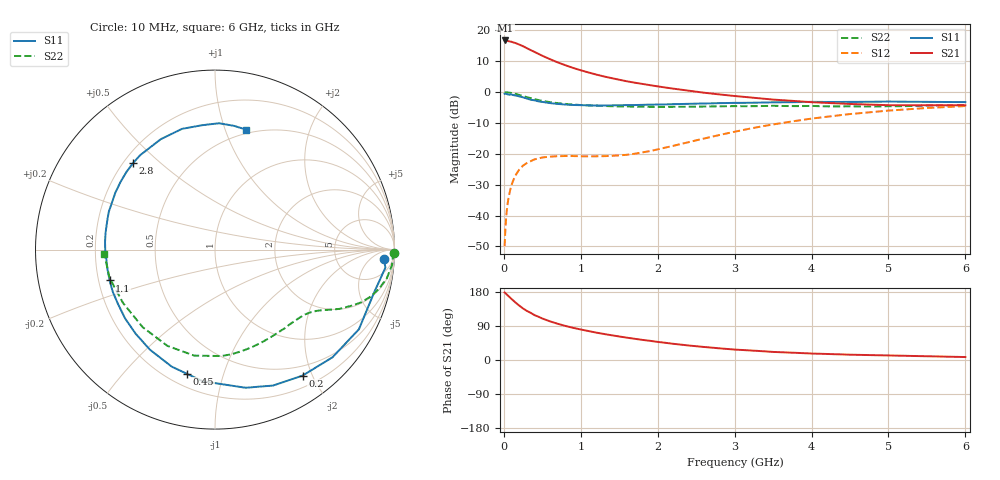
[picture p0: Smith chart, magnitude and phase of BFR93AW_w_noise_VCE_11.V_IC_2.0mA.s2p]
! (c) 2017  Infineon Technologies AG, Munich
! Infineon Technologies  Discrete & RF Semiconductors
! BFR93AW
! VCE =  11. V,  IC =  2.0 mA
! Common Emitter S-Parameters:  Jan 2017
# GHz  S  MA  R  50
!  f  S11  S21  S12  S22
! GHz  MAG  ANG  MAG  ANG  MAG  ANG  MAG  ANG
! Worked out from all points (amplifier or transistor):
!   77 points, 10 MHz to 6 GHz, reference 50 ohm
!   highest |S21| = 16.8 dB at 20 MHz (marker M1)
!   |S21| within 3 dB of that: start of sweep to 339.3 MHz
!   unconditionally stable (mu >= 1): 1.285 GHz to 2.236 GHz
!   at 130 MHz: K = 0.10, MSG = 22.1 dB, |S12| = -28.1 dB
!   at 2.2 GHz: K = 1.01, MAG = 8.6 dB, |S12| = -17.4 dB
!   at 6 GHz: K = 0.95, MSG = 0.1 dB, |S12| = -4.5 dB
!   lowest NFmin = 1.49 dB at 450 MHz
!   S11 on the Smith chart (normalised r, x): 10 MHz: 18, -16; 200 MHz: 0.36, -1.86; 450 MHz: 0.27, -0.76; 1.1 GHz: 0.25, -0.13; 2.8 GHz: 0.24, +0.41; 6 GHz: 0.46, +1.18
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0.01  0.941 -3.1  6.799 178.1  0.0032 87.1  1 -1.0
0.02  0.9549 -6.0  6.882 176.4  0.006 90.9  0.992 -2.0
0.05  0.9193 -14.6  6.764 170.5  0.0159 81.3  0.9903 -4.9
0.1  0.9164 -29.0  6.557 161.0  0.0313 75.2  0.9704 -9.5
0.15  0.888 -42.5  6.257 151.9  0.0446 66.8  0.9383 -13.6
0.2  0.8549 -55.2  5.904 143.6  0.0558 61.1  0.903 -17.0
0.25  0.8235 -66.9  5.548 135.9  0.0647 55.1  0.8665 -19.8
0.3  0.7884 -77.5  5.158 129.5  0.0712 50.7  0.8291 -22.0
0.4  0.7367 -95.3  4.481 118.3  0.0816 43.7  0.7696 -25.4
0.45  0.7098 -102.6  4.173 114.2  0.0844 41.3  0.7459 -26.5
0.5  0.6952 -110.3  3.889 109.5  0.0874 39.1  0.7225 -27.6
0.6  0.6652 -123.0  3.425 102.0  0.0903 36.4  0.6893 -29.3
0.7  0.6443 -133.3  3.036 95.6  0.0918 34.2  0.6639 -30.9
0.9  0.6199 -150.4  2.471 84.9  0.0923 33.5  0.6311 -34.0
1.1  0.6115 -163.7  2.085 76.4  0.0914 36.3  0.6106 -37.4
1.6  0.6166 171.8  1.5 58.9  0.0967 50.3  0.5868 -47.9
2.1  0.6335 153.6  1.19 45.4  0.1265 64.9  0.5779 -60.8
2.8  0.6639 133.5  0.92 30.8  0.2017 71.5  0.5903 -80.9
3.1  0.6717 125.8  0.844 26.4  0.2425 69.9  0.5927 -89.5
4.1  0.6958 103.4  0.679 16.5  0.3862 58.5  0.5928 -119.6
5.1  0.7022 86.8  0.615 11.6  0.5126 42.7  0.5923 -153.0
6  0.6906 75.4  0.613 7.8  0.5961 28.8  0.6176 -177.9
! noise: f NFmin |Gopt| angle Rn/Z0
0.45  1.49  0.44  71  0.2
0.9  1.76  0.41  128  0.21
1.9  3.23  0.56  -159  0.25
2.4  4.18  0.62  -139  0.45
